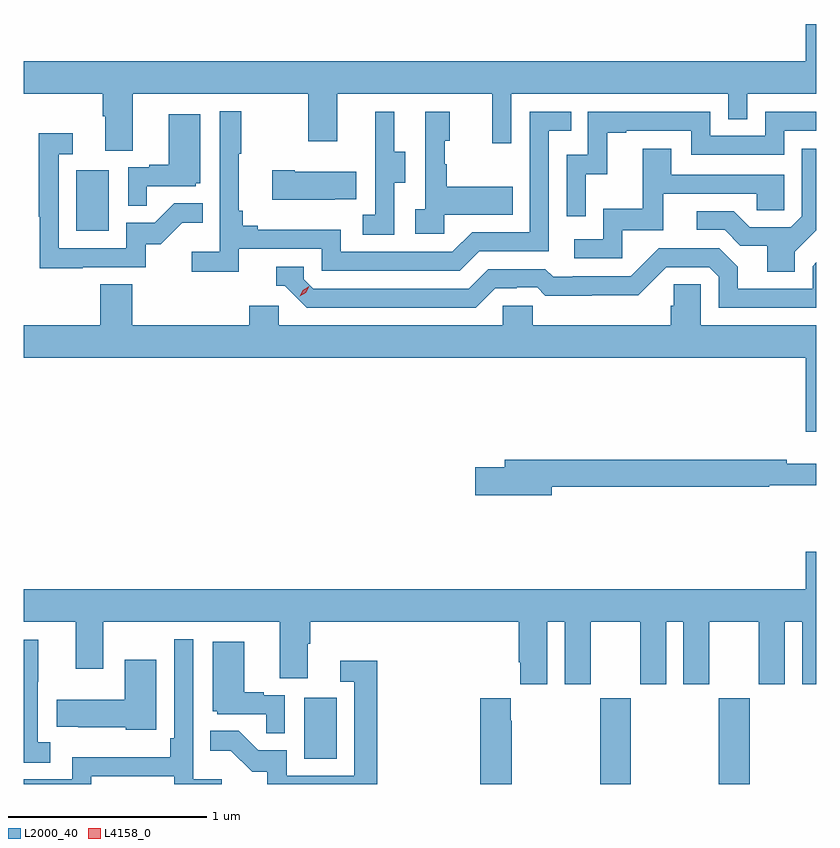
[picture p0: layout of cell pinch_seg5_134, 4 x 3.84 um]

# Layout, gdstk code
import gdstk
lib = gdstk.Library(unit=1e-6, precision=1e-09)
def R(c, l, rs):  # rectangles x0, y0, x1, y1
    for r in rs: c.add(gdstk.rectangle(r[:2], r[2:], *l))
def P(c, l, *ps):  # polygons
    for p in ps: c.add(gdstk.Polygon(p, *l))
L2000_40 = (2000, 40)
L4158_0 = (4158, 0)

pinch_seg5_134 = lib.new_cell('pinch_seg5_134')
R(pinch_seg5_134, L2000_40, [(1063.069,871.924,1063.224,872.356), (1063.669,871.924,1063.824,872.356), (1061.576,872.052,1061.74,872.359), (1060.424,874.716,1060.588,875.023)])
P(pinch_seg5_134, L2000_40, [(1060.711,875.408),(1061.596,875.408),(1061.596,875.169),(1061.743,875.169),(1061.743,875.408),(1062.524,875.408),(1062.524,875.16),(1062.621,875.16),(1062.621,875.408),(1063.716,875.408),(1063.716,875.281),(1063.812,875.281),(1063.812,875.408),(1064.16,875.408),(1064.16,875.761),(1064.108,875.761),(1064.108,875.572),(1060.16,875.572),(1060.16,875.408),(1060.559,875.408),(1060.559,875.296),(1060.571,875.296),(1060.571,875.122),(1060.711,875.122)],
  [(1061.246,874.626),(1061.664,874.626),(1061.664,874.515),(1062.361,874.515),(1062.46,874.614),(1062.81,874.614),(1062.81,875.223),(1062.923,875.223),(1062.923,875.319),(1062.714,875.319),(1062.714,874.71),(1062.423,874.71),(1062.324,874.611),(1061.76,874.611),(1061.76,874.723),(1061.341,874.723),(1061.341,874.742),(1061.264,874.742),(1061.264,874.819),(1061.245,874.819),(1061.245,875.107),(1061.257,875.107),(1061.257,875.32),(1061.148,875.32),(1061.148,874.612),(1061.007,874.612),(1061.007,874.51),(1061.246,874.51)],
  [(1062.996,875.003),(1063.106,875.003),(1063.106,875.211),(1063.201,875.211),(1063.201,875.223),(1063.53,875.223),(1063.53,875.1),(1063.998,875.1),(1063.998,875.223),(1064.16,875.223),(1064.16,875.319),(1063.902,875.319),(1063.902,875.196),(1063.626,875.196),(1063.626,875.319),(1063.008,875.319),(1063.008,875.1),(1062.9,875.1),(1062.9,874.791),(1062.996,874.791)],
  [(1062.03,874.96),(1062.085,874.96),(1062.085,875.115),(1062.031,875.115),(1062.031,875.317),(1061.933,875.317),(1061.933,875.103),(1061.934,875.103),(1061.934,874.799),(1061.871,874.799),(1061.871,874.696),(1062.03,874.696)],
  [(1062.282,874.799),(1062.629,874.799),(1062.629,874.939),(1062.295,874.939),(1062.295,875.054),(1062.285,875.054),(1062.285,875.172),(1062.31,875.172),(1062.31,875.317),(1062.186,875.317),(1062.186,874.826),(1062.135,874.826),(1062.135,874.701),(1062.282,874.701)],
  [(1060.781,874.941),(1061.028,874.941),(1061.028,874.956),(1061.05,874.956),(1061.05,875.305),(1060.892,875.305),(1060.892,875.05),(1060.793,875.05),(1060.793,875.037),(1060.686,875.037),(1060.686,874.843),(1060.781,874.843)],
  [(1060.457,874.533),(1060.776,874.533),(1060.776,874.65),(1060.852,874.65),(1060.959,874.757),(1061.063,874.757),(1061.063,874.856),(1060.919,874.856),(1060.821,874.758),(1060.677,874.758),(1060.677,874.629),(1060.335,874.629),(1060.335,875.103),(1060.408,875.103),(1060.408,875.209),(1060.234,875.209),(1060.234,874.789),(1060.239,874.789),(1060.239,874.528),(1060.457,874.528)],
  [(1063.182,874.719),(1063.387,874.719),(1063.387,874.905),(1063.861,874.905),(1063.861,874.821),(1063.998,874.821),(1063.998,875.001),(1063.429,875.001),(1063.429,875.131),(1063.285,875.131),(1063.285,874.828),(1063.086,874.828),(1063.086,874.674),(1062.939,874.674),(1062.939,874.578),(1063.182,874.578)],
  [(1064.053,874.612),(1064.16,874.719),(1064.16,875.131),(1064.088,875.131),(1064.088,874.791),(1064.031,874.734),(1063.825,874.734),(1063.744,874.815),(1063.557,874.815),(1063.557,874.722),(1063.698,874.722),(1063.778,874.642),(1063.913,874.642),(1063.913,874.51),(1064.053,874.51)],
  [(1061.729,874.877),(1061.837,874.877),(1061.837,875.014),(1061.527,875.014),(1061.527,875.022),(1061.415,875.022),(1061.415,874.874),(1061.729,874.874)],
  [(1062.541,874.428),(1062.648,874.428),(1062.648,874.431),(1062.751,874.431),(1062.793,874.389),(1063.026,874.389),(1063.026,874.391),(1063.262,874.391),(1063.404,874.533),(1063.62,874.533),(1063.668,874.485),(1063.668,874.329),(1064.16,874.329),(1064.16,874.557),(1064.142,874.539),(1064.142,874.425),(1063.765,874.425),(1063.765,874.535),(1063.671,874.629),(1063.365,874.629),(1063.224,874.488),(1062.931,874.488),(1062.931,874.485),(1062.832,874.485),(1062.793,874.524),(1062.504,874.524),(1062.405,874.425),(1061.622,874.425),(1061.574,874.473),(1061.574,874.536),(1061.435,874.536),(1061.435,874.44),(1061.478,874.44),(1061.589,874.329),(1062.442,874.329)],
  [(1064.16,874.24),(1063.578,874.24),(1063.578,874.448),(1063.441,874.448),(1063.441,874.338),(1063.427,874.338),(1063.427,874.24),(1062.729,874.24),(1062.729,874.338),(1062.579,874.338),(1062.579,874.24),(1061.448,874.24),(1061.448,874.338),(1061.297,874.338),(1061.297,874.24),(1060.706,874.24),(1060.706,874.448),(1060.546,874.448),(1060.546,874.24),(1060.16,874.24),(1060.16,874.076),(1064.108,874.076),(1064.108,873.702),(1064.16,873.702)],
  [(1062.826,873.424),(1063.922,873.424),(1063.922,873.432),(1064.16,873.432),(1064.16,873.541),(1064.012,873.541),(1064.012,873.56),(1062.587,873.56),(1062.587,873.524),(1062.438,873.524),(1062.438,873.382),(1062.826,873.382)],
  [(1060.16,872.744),(1060.421,872.744),(1060.421,872.505),(1060.561,872.505),(1060.561,872.744),(1061.453,872.744),(1061.453,872.458),(1061.593,872.458),(1061.593,872.632),(1061.606,872.632),(1061.606,872.744),(1062.659,872.744),(1062.659,872.539),(1062.665,872.539),(1062.665,872.427),(1062.802,872.427),(1062.802,872.744),(1062.89,872.744),(1062.89,872.427),(1063.021,872.427),(1063.021,872.744),(1063.271,872.744),(1063.271,872.427),(1063.402,872.427),(1063.402,872.744),(1063.49,872.744),(1063.49,872.427),(1063.621,872.427),(1063.621,872.744),(1063.871,872.744),(1063.871,872.427),(1064.002,872.427),(1064.002,872.744),(1064.09,872.744),(1064.09,872.427),(1064.16,872.427),(1064.16,873.097),(1064.108,873.097),(1064.108,872.908),(1060.16,872.908)],
  [(1060.5,871.962),(1060.919,871.962),(1060.919,871.924),(1061.158,871.924),(1061.158,871.948),(1061.016,871.948),(1061.016,872.656),(1060.92,872.656),(1060.92,872.155),(1060.9,872.155),(1060.9,872.059),(1060.404,872.059),(1060.404,871.947),(1060.16,871.947),(1060.16,871.924),(1060.5,871.924)],
  [(1060.294,872.135),(1060.23,872.135),(1060.23,872.439),(1060.232,872.439),(1060.232,872.653),(1060.16,872.653),(1060.16,872.032),(1060.294,872.032)],
  [(1061.478,872.373),(1061.372,872.373),(1061.372,872.386),(1061.272,872.386),(1061.272,872.641),(1061.114,872.641),(1061.114,872.292),(1061.136,872.292),(1061.136,872.277),(1061.383,872.277),(1061.383,872.179),(1061.478,872.179)],
  [(1060.828,872.551),(1060.67,872.551),(1060.67,872.35),(1060.327,872.35),(1060.327,872.213),(1060.435,872.213),(1060.435,872.21),(1060.674,872.21),(1060.674,872.198),(1060.828,872.198)],
  [(1061.945,872.545),(1061.757,872.545),(1061.757,872.439),(1061.829,872.439),(1061.829,871.965),(1061.487,871.965),(1061.487,872.094),(1061.343,872.094),(1061.245,872.192),(1061.101,872.192),(1061.101,872.093),(1061.205,872.093),(1061.312,871.986),(1061.389,871.986),(1061.389,871.924),(1061.945,871.924)],
  [(1062.624,872.243),(1062.619,872.243),(1062.619,872.356),(1062.464,872.356),(1062.464,871.924),(1062.624,871.924)])
P(pinch_seg5_134, L4158_0, [(1061.552,874.386),(1061.552,874.386),(1061.568,874.418),(1061.6,874.438),(1061.6,874.438),(1061.6,874.437),(1061.583,874.405),(1061.552,874.386)])

lib.write_gds('pinch_seg5_134.gds')
